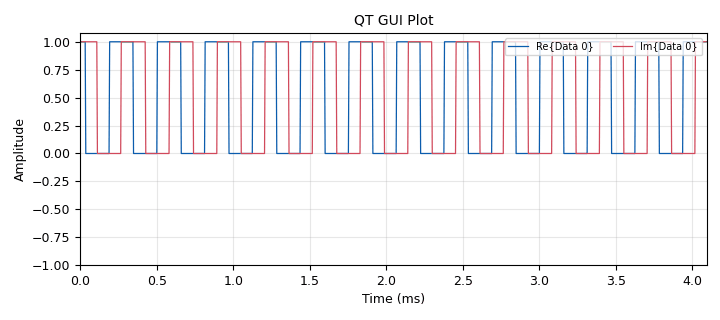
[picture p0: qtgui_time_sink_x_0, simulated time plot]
<?xml version='1.0' encoding='utf-8'?>
<flow_graph>
<block>
<key>options</key>
<param><key>id</key><value>transmitter</value></param>
<param><key>generate_options</key><value>qt_gui</value></param>
<param><key>category</key><value>Custom</value></param>
</block>
<block>
<key>variable</key>
<param><key>id</key><value>samp_rate</value></param>
<param><key>value</key><value>250e3</value></param>
</block>
<block>
<key>blocks_file_source</key>
<param><key>id</key><value>blocks_file_source_0</value></param>
<param><key>_enabled</key><value>False</value></param>
<param><key>file</key><value>/home/vpreston/Documents/wirelesscomms_timesyc/Matlab scripts/data.dat</value></param>
<param><key>type</key><value>complex</value></param>
<param><key>repeat</key><value>True</value></param>
</block>
<block>
<key>uhd_usrp_sink</key>
<param><key>id</key><value>olin_usrp11</value></param>
<param><key>type</key><value>fc32</value></param>
<param><key>dev_addr</key><value></value></param>
<param><key>sync</key><value></value></param>
<param><key>clock_rate</key><value>0.0</value></param>
<param><key>samp_rate</key><value>samp_rate</value></param>
<param><key>center_freq0</key><value>2.4855e9</value></param>
<param><key>gain0</key><value>20</value></param>
<param><key>ant0</key><value></value></param>
</block>
<block>
<key>qtgui_time_sink_x</key>
<param><key>id</key><value>qtgui_time_sink_x_0</value></param>
<param><key>type</key><value>complex</value></param>
<param><key>name</key><value>QT GUI Plot</value></param>
<param><key>size</key><value>1024</value></param>
<param><key>srate</key><value>samp_rate</value></param>
</block>
<block>
<key>analog_sig_source_x</key>
<param><key>id</key><value>analog_sig_source_x_0</value></param>
<param><key>type</key><value>complex</value></param>
<param><key>samp_rate</key><value>samp_rate</value></param>
<param><key>waveform</key><value>analog.GR_SQR_WAVE</value></param>
<param><key>freq</key><value>3200</value></param>
<param><key>amp</key><value>1</value></param>
<param><key>offset</key><value>0</value></param>
</block>
<connection><source_block_id>blocks_file_source_0</source_block_id><sink_block_id>qtgui_time_sink_x_0</sink_block_id><source_key>0</source_key><sink_key>0</sink_key></connection>
<connection><source_block_id>blocks_file_source_0</source_block_id><sink_block_id>olin_usrp11</sink_block_id><source_key>0</source_key><sink_key>0</sink_key></connection>
<connection><source_block_id>analog_sig_source_x_0</source_block_id><sink_block_id>olin_usrp11</sink_block_id><source_key>0</source_key><sink_key>0</sink_key></connection>
<connection><source_block_id>analog_sig_source_x_0</source_block_id><sink_block_id>qtgui_time_sink_x_0</sink_block_id><source_key>0</source_key><sink_key>0</sink_key></connection>
</flow_graph>
